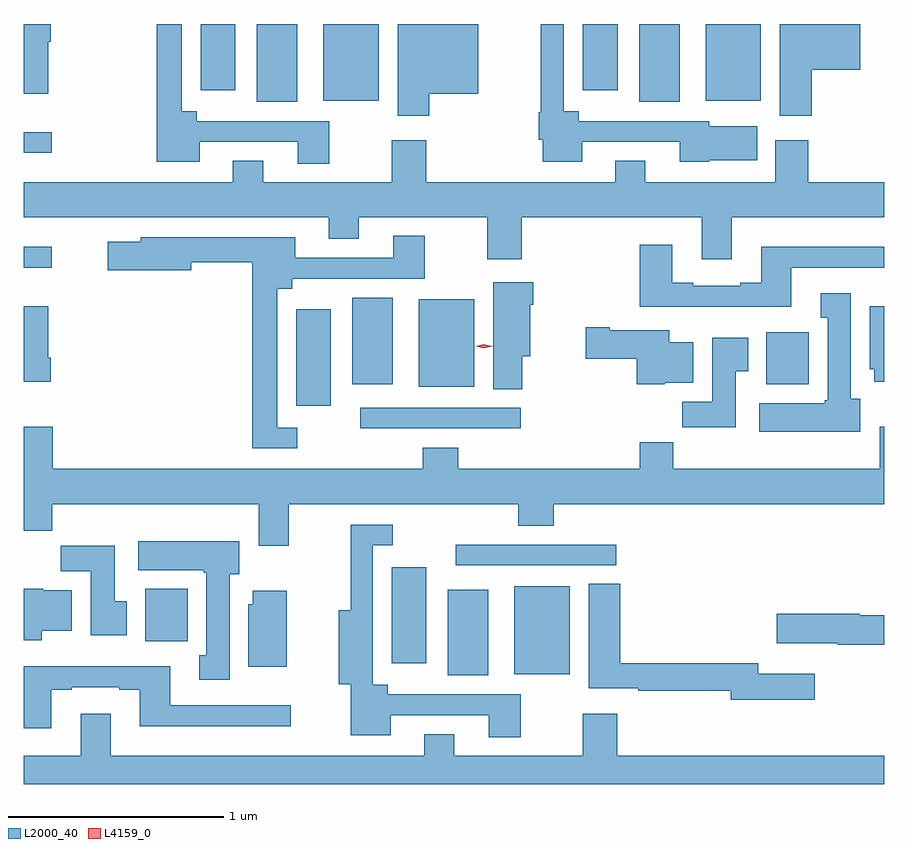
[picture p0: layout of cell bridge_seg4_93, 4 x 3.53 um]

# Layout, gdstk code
import gdstk
lib = gdstk.Library(unit=1e-6, precision=1e-09)
def R(c, l, rs):  # rectangles x0, y0, x1, y1
    for r in rs: c.add(gdstk.rectangle(r[:2], r[2:], *l))
def P(c, l, *ps):  # polygons
    for p in ps: c.add(gdstk.Polygon(p, *l))
L2000_40 = (2000, 40)
L4159_0 = (4159, 0)

bridge_seg4_93 = lib.new_cell('bridge_seg4_93')
R(bridge_seg4_93, L2000_40, [(448.412,749.405,448.6,749.803), (448.721,749.411,448.978,749.818), (448.151,749.46,448.312,749.908), (447.005,749.564,447.202,749.806), (448.449,749.916,449.194,750.012), (448.005,750.552,448.75,750.648), (447.707,750.657,447.868,751.105), (448.277,750.746,448.534,751.153), (447.968,750.758,448.156,751.159), (449.891,750.758,450.088,751), (446.44,751.299,446.572,751.396), (446.44,751.832,446.572,751.929), (447.524,752.069,447.712,752.431), (449.3,752.069,449.488,752.431), (447.833,752.075,448.09,752.431), (449.609,752.075,449.866,752.431), (447.263,752.124,447.424,752.431), (449.039,752.124,449.2,752.431)])
P(bridge_seg4_93, L2000_40, [(446.554,752.348),(446.567,752.348),(446.567,752.431),(446.44,752.431),(446.44,752.108),(446.554,752.108)],
  [(449.035,751.884),(449.489,751.884),(449.489,751.79),(449.625,751.79),(449.625,751.799),(449.848,751.799),(449.848,751.957),(449.625,751.957),(449.625,751.98),(449.02,751.98),(449.02,752.026),(448.95,752.026),(448.95,752.431),(448.842,752.431),(448.842,752.022),(448.834,752.022),(448.834,751.894),(448.853,751.894),(448.853,751.79),(449.035,751.79)],
  [(447.861,751.98),(447.244,751.98),(447.244,752.026),(447.174,752.026),(447.174,752.431),(447.058,752.431),(447.058,751.79),(447.259,751.79),(447.259,751.884),(447.713,751.884),(447.713,751.782),(447.861,751.782)],
  [(448.325,752.108),(448.552,752.108),(448.552,752.431),(448.178,752.431),(448.178,752.004),(448.325,752.004)],
  [(450.101,752.219),(450.328,752.219),(450.328,752.431),(449.954,752.431),(449.954,752.004),(450.101,752.004)],
  [(450.44,751.696),(450.086,751.696),(450.086,751.891),(449.933,751.891),(449.933,751.696),(449.329,751.696),(449.329,751.795),(449.189,751.795),(449.189,751.696),(448.31,751.696),(448.31,751.891),(448.15,751.891),(448.15,751.696),(447.553,751.696),(447.553,751.795),(447.413,751.795),(447.413,751.696),(446.44,751.696),(446.44,751.532),(447.857,751.532),(447.857,751.433),(447.997,751.433),(447.997,751.532),(448.594,751.532),(448.594,751.338),(448.754,751.338),(448.754,751.532),(449.591,751.532),(449.591,751.338),(449.731,751.338),(449.731,751.532),(450.44,751.532)],
  [(447.712,750.555),(447.618,750.555),(447.618,751.202),(447.688,751.202),(447.688,751.248),(448.305,751.248),(448.305,751.447),(448.157,751.447),(448.157,751.344),(447.703,751.344),(447.703,751.44),(446.985,751.44),(446.985,751.42),(446.832,751.42),(446.832,751.286),(447.22,751.286),(447.22,751.324),(447.502,751.324),(447.502,750.459),(447.712,750.459)],
  [(450.007,751.299),(450.44,751.299),(450.44,751.396),(449.867,751.396),(449.867,751.228),(449.771,751.228),(449.771,751.215),(449.551,751.215),(449.551,751.228),(449.455,751.228),(449.455,751.405),(449.303,751.405),(449.303,751.118),(450.007,751.118)],
  [(448.756,750.887),(448.795,750.887),(448.795,751.127),(448.808,751.127),(448.808,751.231),(448.622,751.231),(448.622,750.733),(448.756,750.733)],
  [(450.328,750.69),(450.283,750.69),(450.283,751.18),(450.143,751.18),(450.143,751.067),(450.176,751.067),(450.176,750.684),(450.163,750.684),(450.163,750.67),(449.859,750.67),(449.859,750.536),(450.328,750.536)],
  [(446.567,750.88),(446.554,750.88),(446.554,751.12),(446.44,751.12),(446.44,750.768),(446.567,750.768)],
  [(450.44,751.12),(450.371,751.12),(450.371,750.828),(450.392,750.828),(450.392,750.768),(450.44,750.768)],
  [(449.418,750.764),(449.551,750.764),(449.551,750.952),(449.44,750.952),(449.44,751.009),(449.164,751.009),(449.164,751.022),(449.052,751.022),(449.052,750.875),(449.288,750.875),(449.288,750.758),(449.418,750.758)],
  [(449.749,750.817),(449.806,750.817),(449.806,750.973),(449.639,750.973),(449.639,750.676),(449.5,750.676),(449.5,750.558),(449.749,750.558)],
  [(447.673,750.2),(448.739,750.2),(448.739,750.101),(448.904,750.101),(448.904,750.2),(450.44,750.2),(450.44,750.559),(450.419,750.559),(450.419,750.364),(449.459,750.364),(449.459,750.488),(449.303,750.488),(449.303,750.364),(448.46,750.364),(448.46,750.463),(448.295,750.463),(448.295,750.364),(446.576,750.364),(446.576,750.559),(446.44,750.559),(446.44,750.076),(446.573,750.076),(446.573,750.2),(447.533,750.2),(447.533,750.006),(447.673,750.006)],
  [(448.749,749.316),(448.132,749.316),(448.132,749.362),(448.063,749.362),(448.063,749.603),(448.062,749.603),(448.062,750.009),(448.156,750.009),(448.156,750.105),(447.961,750.105),(447.961,749.707),(447.905,749.707),(447.905,749.363),(447.961,749.363),(447.961,749.126),(448.147,749.126),(448.147,749.22),(448.601,749.22),(448.601,749.118),(448.749,749.118)],
  [(447.397,749.874),(447.442,749.874),(447.442,750.028),(446.973,750.028),(446.973,749.894),(447.277,749.894),(447.277,749.881),(447.29,749.881),(447.29,749.498),(447.257,749.498),(447.257,749.385),(447.397,749.385)],
  [(446.92,749.748),(446.863,749.748),(446.863,750.007),(446.614,750.007),(446.614,749.888),(446.753,749.888),(446.753,749.592),(446.92,749.592)],
  [(450.115,749.413),(449.854,749.413),(449.854,749.462),(449.213,749.462),(449.213,749.831),(449.066,749.831),(449.066,749.346),(449.296,749.346),(449.296,749.334),(449.726,749.334),(449.726,749.291),(450.115,749.291)],
  [(446.524,749.612),(446.665,749.612),(446.665,749.8),(446.532,749.8),(446.532,749.806),(446.44,749.806),(446.44,749.568),(446.524,749.568)],
  [(447.664,749.797),(447.506,749.797),(447.506,749.736),(447.485,749.736),(447.485,749.444),(447.664,749.444)],
  [(450.44,749.684),(450.324,749.684),(450.324,749.69),(449.94,749.69),(449.94,749.555),(450.224,749.555),(450.224,749.548),(450.44,749.548)],
  [(446.569,749.337),(446.665,749.337),(446.665,749.349),(446.885,749.349),(446.885,749.337),(446.981,749.337),(446.981,749.168),(447.682,749.168),(447.682,749.265),(447.121,749.265),(447.121,749.446),(446.44,749.446),(446.44,749.16),(446.569,749.16)],
  [(450.44,749.032),(449.198,749.032),(449.198,749.227),(449.038,749.227),(449.038,749.032),(448.441,749.032),(448.441,749.131),(448.301,749.131),(448.301,749.032),(446.845,749.032),(446.845,749.227),(446.705,749.227),(446.705,749.032),(446.44,749.032),(446.44,748.9),(450.44,748.9)])
P(bridge_seg4_93, L4159_0, [(448.579,750.924),(448.541,750.934),(448.541,750.934),(448.541,750.934),(448.579,750.944),(448.617,750.934),(448.617,750.934),(448.617,750.934)])

lib.write_gds('bridge_seg4_93.gds')
